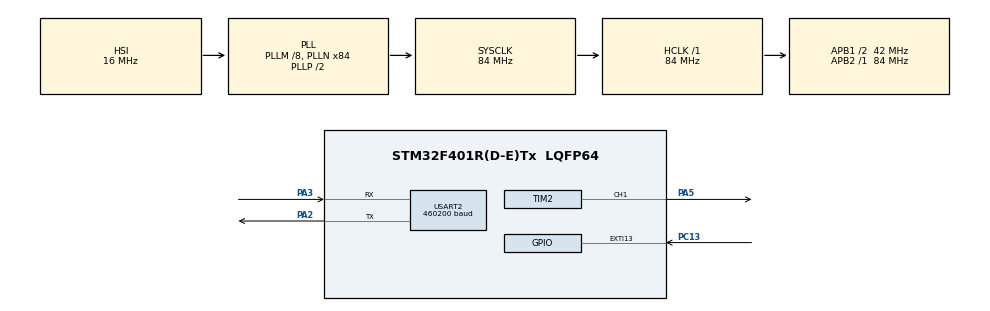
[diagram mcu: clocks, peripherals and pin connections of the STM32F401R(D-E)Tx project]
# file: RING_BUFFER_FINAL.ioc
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Mcu.Family=STM32F4
Mcu.Name=STM32F401R(D-E)Tx
Mcu.Package=LQFP64
NVIC.EXTI15_10_IRQn=true\:0\:0\:false\:false\:true\:true\:true\:true
NVIC.PriorityGroup=NVIC_PRIORITYGROUP_4
NVIC.USART2_IRQn=true\:0\:0\:false\:false\:true\:true\:true\:true
PA13.Mode=Serial_Wire
PA13.Signal=SYS_JTMS-SWDIO
PA14.Mode=Serial_Wire
PA14.Signal=SYS_JTCK-SWCLK
PA2.Mode=Asynchronous
PA2.Signal=USART2_TX
PA3.Mode=Asynchronous
PA3.Signal=USART2_RX
PA5.Signal=S_TIM2_CH1_ETR
PC13-ANTI_TAMP.GPIO_ModeDefaultEXTI=GPIO_MODE_IT_FALLING
PC13-ANTI_TAMP.Signal=GPXTI13
PH0\ -\ OSC_IN.Mode=HSE-External-Clock-Source
PH0\ -\ OSC_IN.Signal=RCC_OSC_IN
PH1\ -\ OSC_OUT.Mode=HSE-External-Clock-Source
PH1\ -\ OSC_OUT.Signal=RCC_OSC_OUT
ProjectManager.HeapSize=0x200
ProjectManager.StackSize=0x400
ProjectManager.TargetToolchain=STM32CubeIDE
RCC.48MHZClocksFreq_Value=42000000
RCC.AHBFreq_Value=84000000
RCC.APB1CLKDivider=RCC_HCLK_DIV2
RCC.APB1Freq_Value=42000000
RCC.APB1TimFreq_Value=84000000
RCC.APB2Freq_Value=84000000
RCC.APB2TimFreq_Value=84000000
RCC.CortexFreq_Value=84000000
RCC.HCLKFreq_Value=84000000
RCC.HSE_VALUE=8000000
RCC.HSI_VALUE=16000000
RCC.LSE_VALUE=32768
RCC.PLLM=8
RCC.PLLN=84
RCC.SYSCLKFreq_VALUE=84000000
RCC.SYSCLKSource=RCC_SYSCLKSOURCE_PLLCLK
RCC.VCOOutputFreq_Value=168000000
SH.S_TIM2_CH1_ETR.0=TIM2_CH1,PWM Generation1 CH1
TIM2.Channel-PWM\ Generation1\ CH1=TIM_CHANNEL_1
TIM2.Period=1000
TIM2.Prescaler=840-1
USART2.BaudRate=460200
USART2.VirtualMode=VM_ASYNC
VP_TIM2_VS_ClockSourceINT.Mode=Internal
board=custom

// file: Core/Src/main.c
/* USER CODE BEGIN Header */
/**
  ******************************************************************************
  * @file           : main.c
  * @brief          : Main program body
  ******************************************************************************
  * @attention
  *
  * Copyright (c) 2023 STMicroelectronics.
  * All rights reserved.
  *
  * This software is licensed under terms that can be found in the LICENSE file
  * in the root directory of this software component.
  * If no LICENSE file comes with this software, it is provided AS-IS.
  *
  ******************************************************************************
  */
/* USER CODE END Header */
#include "main.h"

TIM_HandleTypeDef htim2;

UART_HandleTypeDef huart2;

/* USER CODE BEGIN PV */

FLAGS_STATES flags_States;

CIRCULAR_BUFFERS_InitTypeDef circular_buffer;
QUEUE_InitTypeDef queue;

uint8_t rxTempData[4];
uint32_t delayMs;
uint8_t rxIndex = 0;
uint8_t rxData[16][20];

/* USER CODE END PV */

void SystemClock_Config(void);
static void MX_GPIO_Init(void);
static void MX_USART2_UART_Init(void);
static void MX_TIM2_Init(void);

int main(void)
{

  /* MCU Configuration--------------------------------------------------------*/

  /* Reset of all peripherals, Initializes the Flash interface and the Systick. */
  HAL_Init();

  /* Configure the system clock */
  SystemClock_Config();

  /* Initialize all configured peripherals */
  MX_GPIO_Init();
  MX_USART2_UART_Init();
  MX_TIM2_Init();
  /* USER CODE BEGIN 2 */
  HAL_TIM_PWM_Start(&htim2, TIM_CHANNEL_1);

  UART_Flags_Init(&flags_States);

  Circular_Buffer_Init(&circular_buffer, circular_buffer_Size);
  Queue_Init(&queue, QUEUE_SIZE);

  HAL_UART_Receive_IT(&huart2, rxTempData, 1);

  HAL_UART_Transmit(&huart2,(uint8_t *)"Application Started.\r\n", 22,HAL_MAX_DELAY);

  /* USER CODE END 2 */

  /* Infinite loop */
  while (1)
  {

    /* USER CODE BEGIN 3 */
	  /*if(flags_States.flag_UARTCallBack == FLAG_STATE_SET){
		  CheckReceiveData();
		  CheckParameterData();
		  CheckFlags();
	  }
	  CheckFunctions();*/
	  Queue_Check(&queue);
	  //TryData(&queue);
	  Queue_Process_LED(&queue);
	  CheckFunctions();
  }
  /* USER CODE END 3 */
}

void SystemClock_Config(void)
{
  RCC_OscInitTypeDef RCC_OscInitStruct = {0};
  RCC_ClkInitTypeDef RCC_ClkInitStruct = {0};

  /** Configure the main internal regulator output voltage
  */
  __HAL_RCC_PWR_CLK_ENABLE();
  __HAL_PWR_VOLTAGESCALING_CONFIG(PWR_REGULATOR_VOLTAGE_SCALE2);

  /** Initializes the RCC Oscillators according to the specified parameters
  * in the RCC_OscInitTypeDef structure.
  */
  RCC_OscInitStruct.OscillatorType = RCC_OSCILLATORTYPE_HSI;
  RCC_OscInitStruct.HSIState = RCC_HSI_ON;
  RCC_OscInitStruct.HSICalibrationValue = RCC_HSICALIBRATION_DEFAULT;
  RCC_OscInitStruct.PLL.PLLState = RCC_PLL_ON;
  RCC_OscInitStruct.PLL.PLLSource = RCC_PLLSOURCE_HSI;
  RCC_OscInitStruct.PLL.PLLM = 8;
  RCC_OscInitStruct.PLL.PLLN = 84;
  RCC_OscInitStruct.PLL.PLLP = RCC_PLLP_DIV2;
  RCC_OscInitStruct.PLL.PLLQ = 4;
  if (HAL_RCC_OscConfig(&RCC_OscInitStruct) != HAL_OK)
  {
    Error_Handler();
  }

  /** Initializes the CPU, AHB and APB buses clocks
  */
  RCC_ClkInitStruct.ClockType = RCC_CLOCKTYPE_HCLK|RCC_CLOCKTYPE_SYSCLK
                              |RCC_CLOCKTYPE_PCLK1|RCC_CLOCKTYPE_PCLK2;
  RCC_ClkInitStruct.SYSCLKSource = RCC_SYSCLKSOURCE_PLLCLK;
  RCC_ClkInitStruct.AHBCLKDivider = RCC_SYSCLK_DIV1;
  RCC_ClkInitStruct.APB1CLKDivider = RCC_HCLK_DIV2;
  RCC_ClkInitStruct.APB2CLKDivider = RCC_HCLK_DIV1;

  if (HAL_RCC_ClockConfig(&RCC_ClkInitStruct, FLASH_LATENCY_2) != HAL_OK)
  {
    Error_Handler();
  }
}

static void MX_TIM2_Init(void)
{

  TIM_ClockConfigTypeDef sClockSourceConfig = {0};
  TIM_MasterConfigTypeDef sMasterConfig = {0};
  TIM_OC_InitTypeDef sConfigOC = {0};

  htim2.Instance = TIM2;
  htim2.Init.Prescaler = 840-1;
  htim2.Init.CounterMode = TIM_COUNTERMODE_UP;
  htim2.Init.Period = 1000;
  htim2.Init.ClockDivision = TIM_CLOCKDIVISION_DIV1;
  htim2.Init.AutoReloadPreload = TIM_AUTORELOAD_PRELOAD_DISABLE;
  if (HAL_TIM_Base_Init(&htim2) != HAL_OK)
  {
    Error_Handler();
  }
  sClockSourceConfig.ClockSource = TIM_CLOCKSOURCE_INTERNAL;
  if (HAL_TIM_ConfigClockSource(&htim2, &sClockSourceConfig) != HAL_OK)
  {
    Error_Handler();
  }
  if (HAL_TIM_PWM_Init(&htim2) != HAL_OK)
  {
    Error_Handler();
  }
  sMasterConfig.MasterOutputTrigger = TIM_TRGO_RESET;
  sMasterConfig.MasterSlaveMode = TIM_MASTERSLAVEMODE_DISABLE;
  if (HAL_TIMEx_MasterConfigSynchronization(&htim2, &sMasterConfig) != HAL_OK)
  {
    Error_Handler();
  }
  sConfigOC.OCMode = TIM_OCMODE_PWM1;
  sConfigOC.Pulse = 0;
  sConfigOC.OCPolarity = TIM_OCPOLARITY_HIGH;
  sConfigOC.OCFastMode = TIM_OCFAST_DISABLE;
  if (HAL_TIM_PWM_ConfigChannel(&htim2, &sConfigOC, TIM_CHANNEL_1) != HAL_OK)
  {
    Error_Handler();
  }
  HAL_TIM_MspPostInit(&htim2);

}

static void MX_USART2_UART_Init(void)
{

  huart2.Instance = USART2;
  huart2.Init.BaudRate = 115200;
  huart2.Init.WordLength = UART_WORDLENGTH_8B;
  huart2.Init.StopBits = UART_STOPBITS_1;
  huart2.Init.Parity = UART_PARITY_NONE;
  huart2.Init.Mode = UART_MODE_TX_RX;
  huart2.Init.HwFlowCtl = UART_HWCONTROL_NONE;
  huart2.Init.OverSampling = UART_OVERSAMPLING_16;
  if (HAL_UART_Init(&huart2) != HAL_OK)
  {
    Error_Handler();
  }

}

static void MX_GPIO_Init(void)
{
  GPIO_InitTypeDef GPIO_InitStruct = {0};

  /* GPIO Ports Clock Enable */
  __HAL_RCC_GPIOC_CLK_ENABLE();
  __HAL_RCC_GPIOH_CLK_ENABLE();
  __HAL_RCC_GPIOA_CLK_ENABLE();

  /*Configure GPIO pin : PC13 */
  GPIO_InitStruct.Pin = GPIO_PIN_13;
  GPIO_InitStruct.Mode = GPIO_MODE_IT_FALLING;
  GPIO_InitStruct.Pull = GPIO_NOPULL;
  HAL_GPIO_Init(GPIOC, &GPIO_InitStruct);

  /* EXTI interrupt init*/
  HAL_NVIC_SetPriority(EXTI15_10_IRQn, 0, 0);
  HAL_NVIC_EnableIRQ(EXTI15_10_IRQn);

}

/* USER CODE BEGIN 4 */

void HAL_UART_RxCpltCallback(UART_HandleTypeDef *huart)
{
	queue_read(huart, &circular_buffer, &queue, rxTempData);

}

void HAL_GPIO_EXTI_Callback(uint16_t GPIO_Pin)
{
  uint8_t tx[] = "Button Falling Interrupt\r\n";
  HAL_UART_Transmit(&huart2,tx,sizeof(tx),HAL_MAX_DELAY);
  if(flags_States.state_Led == STATE_LED_FIRST){
	  delayMs = BLINK_RATE_MEDIUM;
	  flags_States.state_Led = STATE_LED_SECOND;
  }
  else if(flags_States.state_Led == STATE_LED_SECOND){
  	  delayMs = BLINK_RATE_HIGH;
  	  flags_States.state_Led = STATE_LED_THIRD;
  }
  else if(flags_States.state_Led == STATE_LED_THIRD){
  	  delayMs = BLINK_RATE_LOW;
  	  flags_States.state_Led = STATE_LED_FIRST;
  }
}

/* USER CODE END 4 */

void Error_Handler(void)
{
  __disable_irq();
  while (1)
  {
  }
}
